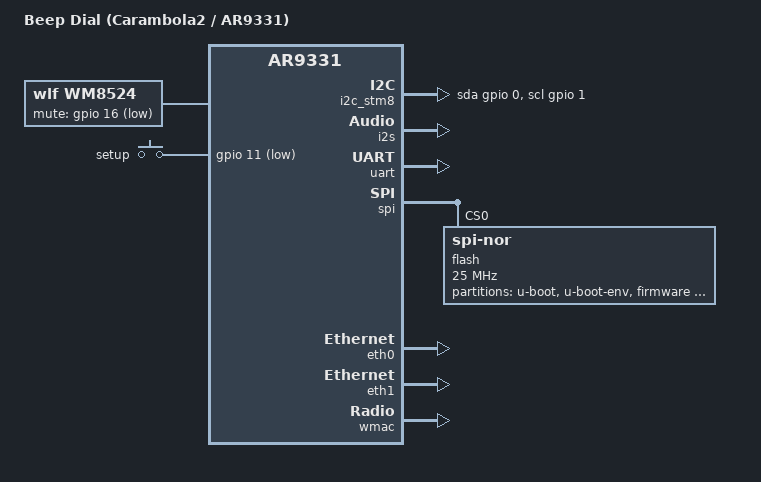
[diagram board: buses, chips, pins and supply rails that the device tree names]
// SPDX-License-Identifier: GPL-2.0-or-later
/dts-v1/;

#include "ar9331.dtsi"
#include <dt-bindings/gpio/gpio.h>
#include <dt-bindings/input/input.h>

/*
 * Beep "Dial" wireless audio player — 8devices Carambola 2 (AR9331) based.
 *
 * Partition table is IDENTICAL to the upstream ar9331_8dev_carambola2.dts
 * (u-boot @0, u-boot-env @0x40000, firmware @0x50000, art @0xff0000) so the
 * stock u-boot and radio-calibration (art) survive untouched — see
 * ~/beep-revival/RESEARCH-SYNTHESIS.md.
 *
 * Added vs. stock carambola2 DTS:
 *  - I2S CPU DAI + MBOX DMA (ath79-i2s driver, this repo) -> WM8524 DAC
 *  - simple-audio-card gluing them (CPU is bit/frame/MCLK master; WM8524 slave-only)
 *  - i2c-gpio on GPIO0/GPIO1 for the STM8 control MCU (knob/tap/LED, addr 0x23)
 *  - gpio-keys "setup" on GPIO11
 *
 * Register bases confirmed from franzflasch ath79-stereo-regs.h AND the stock
 * unstripped ath_i2s.ko (MBOX ctrl @0x180a0024: START=bit1/RESUME=bit2/STOP=bit0).
 */

/ {
	model = "Beep Dial (Carambola2 / AR9331)";
	compatible = "beep,dial", "qca,ar9331";

	aliases {
		serial0 = &uart;
	};

	/* WM8524: mainline codec driver, hardware-control mode (no register bus),
	 * only a mute GPIO. NOTE: the mute-GPIO pin is a PLACEHOLDER — confirm on
	 * the bench (Saleae during stock power-up, or schematic trace). If the mute
	 * line is hard-strapped (no GPIO), either patch wm8524.c to make the GPIO
	 * optional, or switch this node to compatible = "linux,snd-soc-dummy". */
	wm8524: codec {
		#sound-dai-cells = <0>;
		compatible = "wlf,wm8524";
		wlf,mute-gpios = <&gpio 16 GPIO_ACTIVE_LOW>; /* TODO: verify pin on hardware */
	};

	sound {
		compatible = "simple-audio-card";
		simple-audio-card,name = "Beep-WM8524";
		simple-audio-card,format = "i2s";
		/* AR9331 I2S block is the clock master; WM8524 is slave-only */
		simple-audio-card,bitclock-master = <&sndcpu>;
		simple-audio-card,frame-master = <&sndcpu>;

		sndcpu: simple-audio-card,cpu {
			sound-dai = <&i2s>;
		};
		simple-audio-card,codec {
			sound-dai = <&wm8524>;
			/*
			 * WM8524 (mainline wm8524.c) refuses to start unless a non-zero
			 * MCLK is set via set_sysclk() BEFORE stream startup. simple-card's
			 * `mclk-fs` sets sysclk only at hw_params (too late — the codec's
			 * startup check zeroes it first), so we must use the FIXED
			 * `system-clock-frequency`, which simple-card applies at DAI init.
			 * 11289600 = 256 * 44100 (the AR9331 I2S MCLK for 44.1kHz). This
			 * also constrains the codec's allowed rates to 44.1k-family; 48k
			 * needs a re-clock (future: per-rate MCLK / drop the constraint).
			 */
			system-clock-frequency = <11289600>;
		};
	};

	/* Bit-banged I2C to the STM8L151 control MCU (knob/tap/LED).
	 * SDA=GPIO0, SCL=GPIO1 (same pins the stock i2c-gpio.0 used).
	 * NOTE: GPIO0/GPIO1 are also the WLAN/LED0/LED1 bootstrap pins — this file
	 * deliberately does NOT define a gpio-leds node claiming them. */
	i2c_stm8: i2c {
		compatible = "i2c-gpio";
		sda-gpios = <&gpio 0 (GPIO_ACTIVE_HIGH | GPIO_OPEN_DRAIN)>;
		scl-gpios = <&gpio 1 (GPIO_ACTIVE_HIGH | GPIO_OPEN_DRAIN)>;
		i2c-gpio,delay-us = <5>;     /* ~100 kHz; the STM8 slave is slow */
		i2c-gpio,timeout-ms = <100>;
		#address-cells = <1>;
		#size-cells = <0>;
		/* No child node: beepd talks to the STM8 directly via /dev/i2c-N +
		 * ioctl(I2C_SLAVE, 0x23). It is a bespoke device, no kernel driver. */
	};

	keys {
		compatible = "gpio-keys";
		setup {
			label = "setup";
			linux,code = <KEY_SETUP>;
			gpios = <&gpio 11 GPIO_ACTIVE_LOW>; /* TODO: confirm polarity */
			debounce-interval = <60>;
		};
	};
};

/*
 * I2S CPU DAI + MBOX DMA controller.
 *   STEREO config block: 0x180b0000, size 0x18
 *   MBOX/DMA block:      0x180a0000, size 0x6c
 *   IRQ: ATH79 MISC irq base + 7  (the "audio DMA" line)
 * Bindings are authored by this project (no upstream ath79 I2S binding exists).
 *
 * Placed on the AHB bus (alongside gmac@18070000 / wmac@18100000). In OpenWrt's
 * ar9330/ath79 dtsi the `ahb`/`apb` bus nodes carry NO label, so we reference the
 * bus by path (`&{/ahb}`) rather than a label — `&apb` does not resolve and dtc
 * fails with "Label or path apb not found". reg values are absolute (identity
 * ranges), so AHB vs APB placement doesn't change the mapping.
 */
&{/ahb} {
	i2s: i2s@180b0000 {
		compatible = "qca,ar9331-i2s";
		#sound-dai-cells = <0>;
		reg = <0x180b0000 0x18>,   /* STEREO config */
		      <0x180a0000 0x6c>;   /* MBOX DMA      */
		reg-names = "stereo", "mbox";
		interrupt-parent = <&miscintc>;
		interrupts = <7>;
		status = "okay";
	};
};

&uart {
	status = "okay";
};

&spi {
	status = "okay";
	num-chipselects = <1>;

	flash@0 {
		compatible = "jedec,spi-nor";
		reg = <0>;
		spi-max-frequency = <25000000>;

		partitions {
			compatible = "fixed-partitions";
			#address-cells = <1>;
			#size-cells = <1>;

			partition@0 {
				label = "u-boot";
				reg = <0x000000 0x040000>;
				read-only;
			};
			partition@40000 {
				label = "u-boot-env";
				reg = <0x040000 0x010000>;
				read-only;
			};
			partition@50000 {
				compatible = "denx,uimage";
				label = "firmware";
				reg = <0x050000 0xfa0000>;
			};
			art: partition@ff0000 {
				label = "art";
				reg = <0xff0000 0x010000>;
				read-only;

				/*
				 * Modern ath79 (k6.6) reads the radio calibration + MACs
				 * from ART via nvmem, NOT the legacy mtd-cal-data /
				 * mtd-mac-address bindings (those silently fail -> ath9k
				 * probe -EINVAL/-5, wifi dead). Layout matches upstream
				 * ar9331_8dev_carambola2.dts exactly.
				 */
				nvmem-layout {
					compatible = "fixed-layout";
					#address-cells = <1>;
					#size-cells = <1>;

					macaddr_art_0: macaddr@0 {
						reg = <0x0 0x6>;
					};
					macaddr_art_6: macaddr@6 {
						reg = <0x6 0x6>;
					};
					cal_art_1000: calibration@1000 {
						reg = <0x1000 0x440>;
					};
				};
			};
		};
	};
};

&eth0 {
	status = "okay";
	nvmem-cells = <&macaddr_art_0>;
	nvmem-cell-names = "mac-address";

	gmac-config {
		device = <&gmac>;
		switch-phy-addr-swap = <1>;
		switch-phy-swap = <1>;
	};
};

&eth1 {
	status = "okay";
	nvmem-cells = <&macaddr_art_6>;
	nvmem-cell-names = "mac-address";
};

&wmac {
	status = "okay";
	nvmem-cells = <&macaddr_art_6>, <&cal_art_1000>;
	nvmem-cell-names = "mac-address", "calibration";
};
